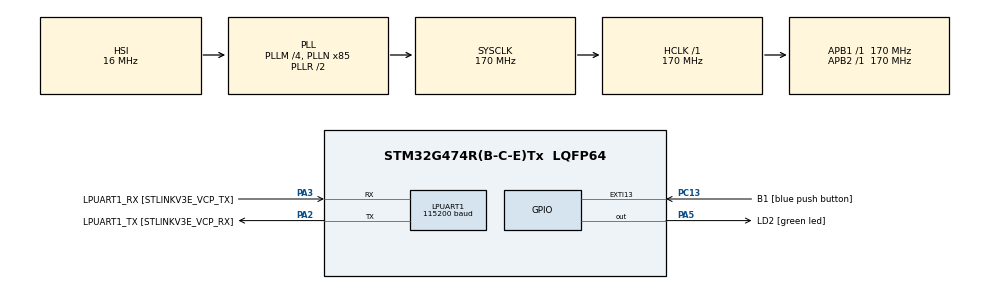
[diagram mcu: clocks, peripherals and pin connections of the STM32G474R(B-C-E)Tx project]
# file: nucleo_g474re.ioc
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Dma.LPUART1_RX.1.Direction=DMA_PERIPH_TO_MEMORY
Dma.LPUART1_RX.1.EventEnable=DISABLE
Dma.LPUART1_RX.1.Instance=DMA1_Channel2
Dma.LPUART1_RX.1.MemDataAlignment=DMA_MDATAALIGN_BYTE
Dma.LPUART1_RX.1.MemInc=DMA_MINC_ENABLE
Dma.LPUART1_RX.1.Mode=DMA_CIRCULAR
Dma.LPUART1_RX.1.PeriphDataAlignment=DMA_PDATAALIGN_BYTE
Dma.LPUART1_RX.1.PeriphInc=DMA_PINC_DISABLE
Dma.LPUART1_RX.1.Polarity=HAL_DMAMUX_REQ_GEN_RISING
Dma.LPUART1_RX.1.Priority=DMA_PRIORITY_VERY_HIGH
Dma.LPUART1_RX.1.RequestNumber=1
Dma.LPUART1_RX.1.SignalID=NONE
Dma.LPUART1_RX.1.SyncEnable=DISABLE
Dma.LPUART1_RX.1.SyncPolarity=HAL_DMAMUX_SYNC_NO_EVENT
Dma.LPUART1_RX.1.SyncRequestNumber=1
Dma.LPUART1_RX.1.SyncSignalID=NONE
Dma.LPUART1_TX.0.Direction=DMA_MEMORY_TO_PERIPH
Dma.LPUART1_TX.0.EventEnable=DISABLE
Dma.LPUART1_TX.0.Instance=DMA1_Channel1
Dma.LPUART1_TX.0.MemDataAlignment=DMA_MDATAALIGN_BYTE
Dma.LPUART1_TX.0.MemInc=DMA_MINC_ENABLE
Dma.LPUART1_TX.0.Mode=DMA_NORMAL
Dma.LPUART1_TX.0.PeriphDataAlignment=DMA_PDATAALIGN_BYTE
Dma.LPUART1_TX.0.PeriphInc=DMA_PINC_DISABLE
Dma.LPUART1_TX.0.Polarity=HAL_DMAMUX_REQ_GEN_RISING
Dma.LPUART1_TX.0.Priority=DMA_PRIORITY_VERY_HIGH
Dma.LPUART1_TX.0.RequestNumber=1
Dma.LPUART1_TX.0.SignalID=NONE
Dma.LPUART1_TX.0.SyncEnable=DISABLE
Dma.LPUART1_TX.0.SyncPolarity=HAL_DMAMUX_SYNC_NO_EVENT
Dma.LPUART1_TX.0.SyncRequestNumber=1
Dma.LPUART1_TX.0.SyncSignalID=NONE
Dma.Request0=LPUART1_TX
Dma.Request1=LPUART1_RX
FREERTOS.Tasks01=defaultTask,24,3000,StartDefaultTask,As weak,NULL,Static,defaultTaskBuffer,defaultTaskControlBlock
FREERTOS.configENABLE_FPU=1
IWDG.Reload=2499
LPUART1.BaudRate=115200
Mcu.Family=STM32G4
Mcu.Name=STM32G474R(B-C-E)Tx
Mcu.Package=LQFP64
NVIC.DMA1_Channel1_IRQn=true\:5\:0\:false\:false\:true\:true\:false\:true\:true
NVIC.DMA1_Channel2_IRQn=true\:5\:0\:false\:false\:true\:true\:false\:true\:true
NVIC.EXTI15_10_IRQn=true\:5\:0\:false\:false\:true\:true\:true\:true\:true
NVIC.LPUART1_IRQn=true\:5\:0\:false\:false\:true\:true\:true\:true\:true
NVIC.PriorityGroup=NVIC_PRIORITYGROUP_4
NVIC.TIM1_UP_TIM16_IRQn=true\:15\:0\:false\:false\:true\:false\:false\:true\:true
NVIC.TimeBase=TIM1_UP_TIM16_IRQn
NVIC.TimeBaseIP=TIM1
PA13.GPIO_Label=T_SWDIO
PA13.Signal=SYS_JTMS-SWDIO
PA14.GPIO_Label=T_SWCLK
PA14.Signal=SYS_JTCK-SWCLK
PA2.GPIO_Label=LPUART1_TX [STLINKV3E_VCP_RX]
PA2.Mode=Asynchronous
PA2.Signal=LPUART1_TX
PA3.GPIO_Label=LPUART1_RX [STLINKV3E_VCP_TX]
PA3.Mode=Asynchronous
PA3.Signal=LPUART1_RX
PA5.GPIO_Label=LD2 [green led]
PA5.Signal=GPIO_Output
PB3.GPIO_Label=T_SWO
PB3.Signal=SYS_JTDO-SWO
PC13.GPIO_Label=B1 [blue push button]
PC13.Signal=GPXTI13
PC14-OSC32_IN.GPIO_Label=RCC_OSC32_IN
PC14-OSC32_IN.Signal=RCC_OSC32_IN
PC15-OSC32_OUT.GPIO_Label=RCC_OSC32_OUT
PC15-OSC32_OUT.Signal=RCC_OSC32_OUT
PF0-OSC_IN.GPIO_Label=RCC_OSC_IN
PF0-OSC_IN.Signal=RCC_OSC_IN
PF1-OSC_OUT.GPIO_Label=RCC_OSC_OUT
PF1-OSC_OUT.Signal=RCC_OSC_OUT
ProjectManager.HeapSize=0x200
ProjectManager.StackSize=0x400
ProjectManager.TargetToolchain=STM32CubeIDE
RCC.ADC12Freq_Value=170000000
RCC.ADC345Freq_Value=170000000
RCC.AHBFreq_Value=170000000
RCC.APB1Freq_Value=170000000
RCC.APB1TimFreq_Value=170000000
RCC.APB2Freq_Value=170000000
RCC.APB2TimFreq_Value=170000000
RCC.CortexFreq_Value=170000000
RCC.EXTERNAL_CLOCK_VALUE=12288000
RCC.HCLKFreq_Value=170000000
RCC.HSE_VALUE=24000000
RCC.HSI48_VALUE=48000000
RCC.HSI_VALUE=16000000
RCC.LSE_VALUE=32768
RCC.PLLM=RCC_PLLM_DIV4
RCC.PLLN=85
RCC.RTCClockSelection=RCC_RTCCLKSOURCE_LSE
RCC.SYSCLKFreq_VALUE=170000000
RCC.SYSCLKSource=RCC_SYSCLKSOURCE_PLLCLK
RCC.USBFreq_Value=170000000
RCC.VCOOutputFreq_Value=340000000
VP_FREERTOS_VS_CMSIS_V2.Mode=CMSIS_V2
VP_IWDG_VS_IWDG.Mode=IWDG_Activate
VP_SYS_VS_DBSignals.Mode=DisableDeadBatterySignals
VP_SYS_VS_tim1.Mode=TIM1
board=NUCLEO-G474RE

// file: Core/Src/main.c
/* USER CODE BEGIN Header */
/**
  ******************************************************************************
  * @file           : main.c
  * @brief          : Main program body
  ******************************************************************************
  * @attention
  *
  * Copyright (c) 2024 STMicroelectronics.
  * All rights reserved.
  *
  * This software is licensed under terms that can be found in the LICENSE file
  * in the root directory of this software component.
  * If no LICENSE file comes with this software, it is provided AS-IS.
  *
  ******************************************************************************
  */
/* USER CODE END Header */
#include "main.h"
#include "cmsis_os.h"
#include "dma.h"
#include "iwdg.h"
#include "usart.h"
#include "gpio.h"

/* USER CODE BEGIN Includes */
#include <rcl/rcl.h>
#include <rcl/error_handling.h>
#include <rclc/rclc.h>
#include <rclc/executor.h>
#include <uxr/client/transport.h>
#include <rmw_microxrcedds_c/config.h>
#include <rmw_microros/rmw_microros.h>
#include <rcl/init_options.h>

#include <example_interfaces/srv/add_two_ints.h>
#include <std_msgs/msg/int32.h>
/* USER CODE END Includes */

/* USER CODE BEGIN PV */
rclc_support_t support;
rcl_allocator_t allocator;
rcl_node_t node;
rcl_timer_t timer;
rclc_executor_t executor;
rcl_publisher_t publisher;
std_msgs__msg__Int32 pub_msg;
std_msgs__msg__Int32 sub_msg;
int32_t step = 1;
rcl_subscription_t subscriber;
rcl_service_t service;
example_interfaces__srv__AddTwoInts_Request service_response;
example_interfaces__srv__AddTwoInts_Request service_request;
/* USER CODE END PV */

void SystemClock_Config(void);
void MX_FREERTOS_Init(void);
/* USER CODE BEGIN PFP */
bool cubemx_transport_open(struct uxrCustomTransport * transport);
bool cubemx_transport_close(struct uxrCustomTransport * transport);
size_t cubemx_transport_write(struct uxrCustomTransport* transport, const uint8_t * buf, size_t len, uint8_t * err);
size_t cubemx_transport_read(struct uxrCustomTransport* transport, uint8_t* buf, size_t len, int timeout, uint8_t* err);

void * microros_allocate(size_t size, void * state);
void microros_deallocate(void * pointer, void * state);
void * microros_reallocate(void * pointer, size_t size, void * state);
void * microros_zero_allocate(size_t number_of_elements, size_t size_of_element, void * state);
/* USER CODE END PFP */

/* USER CODE BEGIN 0 */

void timer_callback(rcl_timer_t * timer, int64_t last_call_time)
{

	if (timer != NULL) {

		pub_msg.data += step;
		rcl_publish(&publisher, &pub_msg, NULL);
		HAL_IWDG_Refresh(&hiwdg);

	}

}

void subscription_callback(const void * msgin)
{
  // Cast received message to used type
  const std_msgs__msg__Int32 * sub_msg = (const std_msgs__msg__Int32 *)msgin;
  step = sub_msg->data;
}

void service_callback(const void * request_msg, void * response_msg){
  // Cast messages to expected types
  example_interfaces__srv__AddTwoInts_Request * req_in = (example_interfaces__srv__AddTwoInts_Request *) request_msg;
  example_interfaces__srv__AddTwoInts_Response * res_in = (example_interfaces__srv__AddTwoInts_Response *) response_msg;

  res_in->sum = req_in->a + req_in->b;
  HAL_GPIO_TogglePin(LD2_GPIO_Port, LD2_Pin);
}

void StartDefaultTask(void *argument)
{
  /* USER CODE BEGIN 5 */

  // micro-ROS configuration

  rmw_uros_set_custom_transport(
    true,
    (void *) &hlpuart1,
    cubemx_transport_open,
    cubemx_transport_close,
    cubemx_transport_write,
    cubemx_transport_read);

  rcl_allocator_t freeRTOS_allocator = rcutils_get_zero_initialized_allocator();
  freeRTOS_allocator.allocate = microros_allocate;
  freeRTOS_allocator.deallocate = microros_deallocate;
  freeRTOS_allocator.reallocate = microros_reallocate;
  freeRTOS_allocator.zero_allocate =  microros_zero_allocate;

  if (!rcutils_set_default_allocator(&freeRTOS_allocator)) {
      printf("Error on default allocators (line %d)\n", __LINE__);
  }

  // micro-ROS app

  allocator = rcl_get_default_allocator();

  //create init_options
  rcl_init_options_t init_options = rcl_get_zero_initialized_init_options();
  rcl_init_options_init(&init_options, allocator);
  rcl_init_options_set_domain_id(&init_options, 69);

  rclc_support_init_with_options(&support, 0, NULL, &init_options, &allocator);

  // create node
  rclc_node_init_default(&node, "cubemx_09_node", "", &support);

  //create publisher
  // Get message type support
  const rosidl_message_type_support_t * type_support =
    ROSIDL_GET_MSG_TYPE_SUPPORT(std_msgs, msg, Int32);

  // Creates a reliable rcl publisher
  rcl_ret_t rc = rclc_publisher_init_default(
    &publisher, &node,
    type_support, "cubemx_publisher");

  // create message
  pub_msg.data = 0;

  // create timer
  rclc_timer_init_default(
		  &timer,
		  &support,
		  RCL_MS_TO_NS(10),
		  timer_callback
		  );

  // create subscriber
  rclc_subscription_init_default(
    &subscriber, &node,
    type_support, "cubemx_sub");

  // create service server
  rclc_service_init_default(
    &service,
	&node,
	ROSIDL_GET_SRV_TYPE_SUPPORT(example_interfaces, srv, AddTwoInts),
	"cubemx_addtwoints");

  //executor
  executor = rclc_executor_get_zero_initialized_executor();
  rclc_executor_init(&executor, &support.context, 3, &allocator);

  rclc_executor_add_subscription(
    &executor, &subscriber, &sub_msg,
    &subscription_callback, ON_NEW_DATA);
  rclc_executor_add_timer(&executor, &timer);
  rclc_executor_add_service(
    &executor, &service, &service_request,
    &service_response, service_callback);
  rclc_executor_spin(&executor);

  for(;;)
  {
    osDelay(10);
  }
  /* USER CODE END 5 */
}
/* USER CODE END 0 */

int main(void)
{

  /* MCU Configuration--------------------------------------------------------*/

  /* Reset of all peripherals, Initializes the Flash interface and the Systick. */
  HAL_Init();

  /* Configure the system clock */
  SystemClock_Config();

  /* Initialize all configured peripherals */
  MX_GPIO_Init();
  MX_DMA_Init();
  MX_LPUART1_UART_Init();
  MX_IWDG_Init();

  /* Init scheduler */
  osKernelInitialize();

  /* Call init function for freertos objects (in cmsis_os2.c) */
  MX_FREERTOS_Init();

  /* Start scheduler */
  osKernelStart();

  /* We should never get here as control is now taken by the scheduler */

  /* Infinite loop */
  while (1)
  {

  }
}

void SystemClock_Config(void)
{
  RCC_OscInitTypeDef RCC_OscInitStruct = {0};
  RCC_ClkInitTypeDef RCC_ClkInitStruct = {0};

  /** Configure the main internal regulator output voltage
  */
  HAL_PWREx_ControlVoltageScaling(PWR_REGULATOR_VOLTAGE_SCALE1_BOOST);

  /** Initializes the RCC Oscillators according to the specified parameters
  * in the RCC_OscInitTypeDef structure.
  */
  RCC_OscInitStruct.OscillatorType = RCC_OSCILLATORTYPE_HSI|RCC_OSCILLATORTYPE_LSI;
  RCC_OscInitStruct.HSIState = RCC_HSI_ON;
  RCC_OscInitStruct.HSICalibrationValue = RCC_HSICALIBRATION_DEFAULT;
  RCC_OscInitStruct.LSIState = RCC_LSI_ON;
  RCC_OscInitStruct.PLL.PLLState = RCC_PLL_ON;
  RCC_OscInitStruct.PLL.PLLSource = RCC_PLLSOURCE_HSI;
  RCC_OscInitStruct.PLL.PLLM = RCC_PLLM_DIV4;
  RCC_OscInitStruct.PLL.PLLN = 85;
  RCC_OscInitStruct.PLL.PLLP = RCC_PLLP_DIV2;
  RCC_OscInitStruct.PLL.PLLQ = RCC_PLLQ_DIV2;
  RCC_OscInitStruct.PLL.PLLR = RCC_PLLR_DIV2;
  if (HAL_RCC_OscConfig(&RCC_OscInitStruct) != HAL_OK)
  {
    Error_Handler();
  }

  /** Initializes the CPU, AHB and APB buses clocks
  */
  RCC_ClkInitStruct.ClockType = RCC_CLOCKTYPE_HCLK|RCC_CLOCKTYPE_SYSCLK
                              |RCC_CLOCKTYPE_PCLK1|RCC_CLOCKTYPE_PCLK2;
  RCC_ClkInitStruct.SYSCLKSource = RCC_SYSCLKSOURCE_PLLCLK;
  RCC_ClkInitStruct.AHBCLKDivider = RCC_SYSCLK_DIV1;
  RCC_ClkInitStruct.APB1CLKDivider = RCC_HCLK_DIV1;
  RCC_ClkInitStruct.APB2CLKDivider = RCC_HCLK_DIV1;

  if (HAL_RCC_ClockConfig(&RCC_ClkInitStruct, FLASH_LATENCY_4) != HAL_OK)
  {
    Error_Handler();
  }
}

void HAL_TIM_PeriodElapsedCallback(TIM_HandleTypeDef *htim)
{
  if (htim->Instance == TIM1) {
    HAL_IncTick();
  }
}

void Error_Handler(void)
{
  __disable_irq();
  while (1)
  {
  }
}
